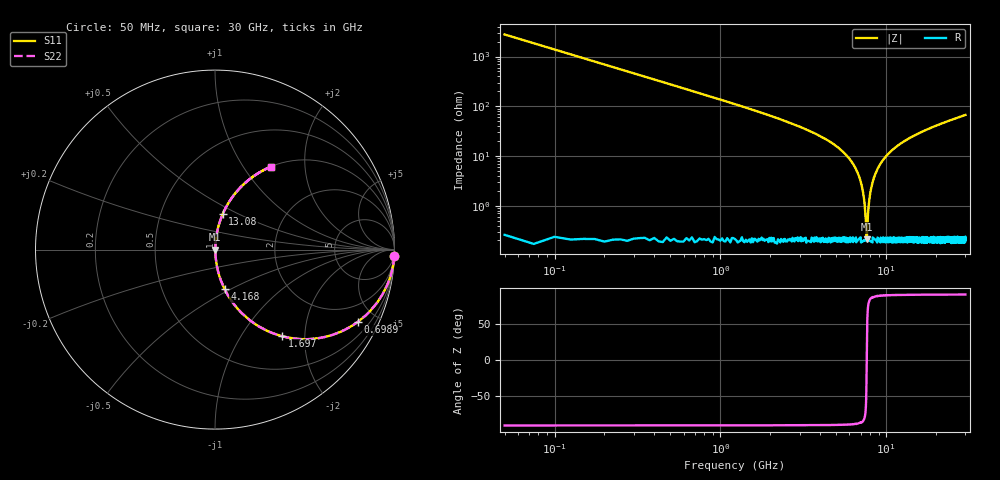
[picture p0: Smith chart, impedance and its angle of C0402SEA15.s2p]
!	AVX Thin Film Operation 	Date: April 2014
!	Description: Accu-P® Series, Thin Film  SMD RF Capacitor
!	Part Number: 04021JA15ZBSTR
# MHZ S MA R 50
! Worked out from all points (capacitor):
!   1201 points, 50 MHz to 30 GHz, reference 50 ohm
!   read as one part in series: C = 1.15 pF near 199.8 MHz
!   lowest |Z| = 210 mohm at 7.612 GHz (marker M1)
!   series resonance near 7.623 GHz, so ESL is about 380 pH
!   S11 on the Smith chart (normalised r, x): 50 MHz: 2, -55; 698.9 MHz: 1.00, -3.93; 1.697 GHz: 1.00, -1.55; 4.168 GHz: 1.00, -0.46; 13.08 GHz: 1.00, +0.41; 30 GHz: 1.00, +1.34
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50  0.999 -2.1  0.036 87.9  0.036 87.9  0.999 -2.1
324.542  0.973 -13.2  0.229 76.8  0.229 76.8  0.973 -13.2
698.917  0.891 -27.0  0.454 63.0  0.454 63.0  0.891 -27.0
1697.25  0.612 -52.1  0.789 37.7  0.789 37.7  0.612 -52.1
2720.542  0.405 -65.8  0.912 23.9  0.912 23.9  0.405 -65.8
4168.125  0.226 -76.4  0.972 13.1  0.972 13.1  0.226 -76.4
5041.667  0.152 -80.5  0.986 8.8  0.986 8.8  0.152 -80.5
6164.792  0.077 -84.0  0.995 4.4  0.995 4.4  0.077 -84.0
6838.667  0.039 -84.7  0.997 2.3  0.997 2.3  0.039 -84.7
7238  0.019 -82.7  0.998 1.1  0.998 1.1  0.019 -82.7
7512.542  0.005698 -68.4  0.998 0.3  0.998 0.3  0.005698 -68.4
7612.375  0.002132 -14.3  0.998 0.0  0.998 0.0  0.002132 -14.3
7712.208  0.004675 63.5  0.998 -0.2  0.998 -0.2  0.004675 63.5
8011.708  0.018 82.4  0.998 -1.0  0.998 -1.0  0.018 82.4
8361.125  0.034 84.6  0.997 -1.9  0.997 -1.9  0.034 84.6
9010.042  0.061 84.6  0.996 -3.5  0.996 -3.5  0.061 84.6
10058.29  0.101 83.0  0.993 -5.8  0.993 -5.8  0.101 83.0
13078.25  0.201 77.8  0.978 -11.6  0.978 -11.6  0.201 77.8
15025  0.256 74.7  0.965 -14.8  0.965 -14.8  0.256 74.7
20016.67  0.377 67.6  0.924 -22.1  0.924 -22.1  0.377 67.6
25033.29  0.475 61.4  0.878 -28.4  0.878 -28.4  0.475 61.4
30000  0.555 56.1  0.83 -33.7  0.83 -33.7  0.555 56.1
